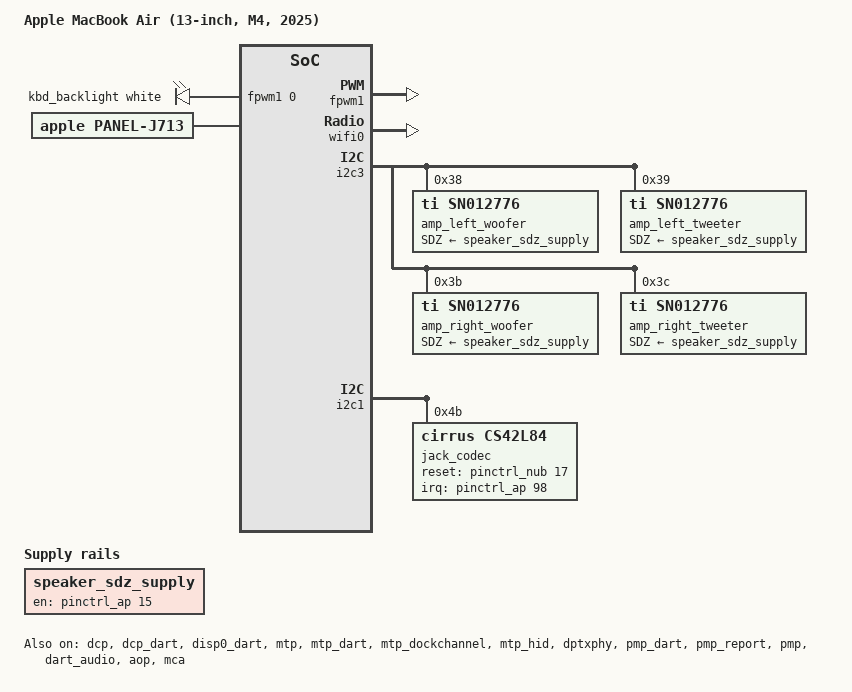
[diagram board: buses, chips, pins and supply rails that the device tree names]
// SPDX-License-Identifier: GPL-2.0+ OR MIT
/*
 * Apple MacBook Air (13-inch, M4, 2025)
 *
 * target-type: J713
 *
 * Copyright The Asahi Linux Contributors
 */

/dts-v1/;

#include "t8132.dtsi"
#include "t8132-jxxx.dtsi"
#include "t8132-mtp.dtsi"
#include "t8132-gpu.dtsi"
#include "t8132-aop.dtsi"
#include "t8132-isp.dtsi"
#include "t8132-j713-thermal.dtsi"
#include <dt-bindings/leds/common.h>

/ {
	compatible = "apple,j713", "apple,t8132", "apple,arm-platform";
	model = "Apple MacBook Air (13-inch, M4, 2025)";

	aliases {
		keyboard = &keyboard;
		/* m1n1 maps the iBoot-provided MTP segments through this alias. */
		mtp = &mtp;
		/*
		 * No external display support yet. m1n1 enables every DCP behind a
		 * dcpextN alias that the ADT lists, but not its DARTs or mailbox;
		 * appledrm then never finishes init and boot blocks before userspace.
		 */
		/delete-property/ dcpext0;
		/delete-property/ dcpext1;
	};

	sound {
		compatible = "apple,j713-macaudio", "apple,macaudio";
		model = "MacBook Air J713";

		dai-link@0 {
			link-name = "Speakers";
			/*
			 * The MCA receives sense data from both ports at once, and
			 * a port's line keeps its last level after its amps' slots.
			 * As in the ADT amp-tx-zd-config, the first amp on each
			 * port drives zeros in the other port's slots.
			 */
			dai-tdm-idle-mode-0 = "zero";
			dai-tdm-idle-mode-2 = "zero";
			dai-tdm-slot-tx-idle-mask-0 = <0xfff0f0f0>;
			dai-tdm-slot-tx-idle-mask-2 = <0xff0f0f0f>;

			cpu {
				sound-dai = <&mca 0>, <&mca 1>;
			};
			codec {
				sound-dai = <&amp_left_woofer>, <&amp_left_tweeter>,
					    <&amp_right_woofer>, <&amp_right_tweeter>;
			};
		};

		dai-link@1 {
			link-name = "Headphone Jack";

			cpu {
				sound-dai = <&mca 2>;
			};
			codec {
				sound-dai = <&jack_codec>;
			};
		};
	};

	led-controller {
		compatible = "pwm-leds";
		led-0 {
			pwms = <&fpwm1 0 40000>;
			label = "kbd_backlight";
			function = LED_FUNCTION_KBD_BACKLIGHT;
			color = <LED_COLOR_ID_WHITE>;
			max-brightness = <255>;
			default-state = "keep";
		};
	};
};

&dcp {
	status = "okay";

	panel: panel {
		compatible = "apple,panel-j713", "apple,panel";
		/*
		 * Unverified on J713: dimensions and brightness are taken from
		 * the M2 MacBook Air 13" (J413), which uses a 13.6" panel of the
		 * same size.
		 */
		width-mm = <290>;
		height-mm = <189>;
		adj-height-mm = <181>;
		apple,max-brightness = <525>;
	};
};

&dcp_dart {
	status = "okay";
};

&dcp_mbox {
	status = "okay";
};

&disp0_dart {
	status = "okay";
};

/*
 * The firmware-owned display CPU domain is locked on T8132; referencing it
 * holds simpledrm back until the deferred-probe timeout. Use the managed
 * display FE domain, as J773g does.
 */
&framebuffer0 {
	power-domains = <&ps_disp_fe>, <&ps_dptx_phy>;
	panel = <&panel>;
	post-init-providers = <&panel>;
};

&fpwm1 {
	status = "okay";
};

&mtp {
	status = "okay";
};

&mtp_mbox {
	status = "okay";
};

&mtp_dart {
	status = "okay";
};

&mtp_dockchannel {
	status = "okay";
};

&mtp_hid {
	status = "okay";
	wakeup-source;

	multi-touch {
		firmware-name = "apple/tpmtfw-j713.bin";
	};

	keyboard: keyboard {
		hid-country-code = <0>;
		apple,keyboard-layout-id = <0>;
	};

	stm {
	};

	actuator {
	};

	tp-accel {
	};

	mtp {
	};
};

/*
 * J713 has two USB-C ports (ATC0, ATC1). ATC2/ATC3 don't exist: the ADT lists
 * their power states without PS registers, so turning them on only fails.
 */
&dwc3_2 {
	status = "disabled";
};

&dwc3_2_dart_0 {
	status = "disabled";
};

&dwc3_2_dart_1 {
	status = "disabled";
};

&atcphy2 {
	status = "disabled";
};

&dwc3_3 {
	status = "disabled";
};

&dwc3_3_dart_0 {
	status = "disabled";
};

&dwc3_3_dart_1 {
	status = "disabled";
};

&atcphy3 {
	status = "disabled";
};

&pmp_report_atc2 {
	status = "disabled";
};

&pmp_report_atc3_common {
	status = "disabled";
};

&ps_atc2_common {
	status = "disabled";
};

&ps_atc2_pcie {
	status = "disabled";
};

&ps_atc2_cio {
	status = "disabled";
};

&ps_atc2_cio_pcie {
	status = "disabled";
};

&ps_atc2_cio_usb {
	status = "disabled";
};

&ps_atc2_usb_aon {
	status = "disabled";
};

&ps_atc2_usb {
	status = "disabled";
};

&ps_atc3_common {
	status = "disabled";
};

&ps_atc3_pcie {
	status = "disabled";
};

&ps_atc3_cio {
	status = "disabled";
};

&ps_atc3_cio_pcie {
	status = "disabled";
};

&ps_atc3_cio_usb {
	status = "disabled";
};

&ps_atc3_usb_aon {
	status = "disabled";
};

&ps_atc3_usb {
	status = "disabled";
};

/*
 * The J713 radio module is "garden" (ADT /arm-io/wlan module-instance).
 * m1n1 adds the antenna SKU, MAC address and calibration from the ADT.
 */
&wifi0 {
	brcm,board-type = "apple,garden";
};

&bluetooth0 {
	brcm,board-type = "apple,garden";
};

/*
 * The internal eDP panel is driven through the DPTX PHY. DCP needs it
 * powered: without it the panel stays dark (backlight only), DPTX reports
 * FIFO errors, and DCP crashes on power-off touching the PHY registers.
 */
&dptxphy {
	status = "okay";
};

&dcp {
	phys = <&dptxphy>;
	phy-names = "dp-phy";
	apple,dptx-phy = <4>;
};

#include "hwmon-common.dtsi"
#include "hwmon-laptop.dtsi"

/*
 * J713 SoC sensors, identified on the Air by behavior: under an all-core CPU
 * load Tp0f is among the hottest of the Tp keys (49 -> 106 C), and the PP0b/VP0b/IP0b rail follows
 * the load (1.5 -> 10 W, 0.61 -> 0.97 V, 2.4 -> 10.3 A; V * I matches P).
 * PMVR from hwmon-common doesn't exist on this SMC and is skipped.
 */
&smc_hwmon {
	temperature-Tp0f {
		apple,key-id = "Tp0f";
		label = "CPU Temperature";
	};
	power-PP0b {
		apple,key-id = "PP0b";
		label = "CPU Rail Power";
	};
	voltage-VP0b {
		apple,key-id = "VP0b";
		label = "CPU Rail Voltage";
	};
	current-IP0b {
		apple,key-id = "IP0b";
		label = "CPU Rail Current";
	};
};

/*
 * Research (t8132-pmp-votes): run PMP with steady votes for everything the
 * system uses; the GPU vote follows its genpd (t8132-gpu.dtsi).
 */
&pmp_report_boot_f {
	apple,always-on;
};

&pmp_report_boot_10 {
	apple,always-on;
};

&pmp_report_atc0_common {
	apple,always-on;
};

&pmp_report_atc1 {
	apple,always-on;
};

&pmp_report_boot_18 {
	apple,always-on;
};

&pmp_report_disp {
	apple,always-on;
};

&pmp_report_soc_ni0 {
	apple,always-on;
};

&pmp_report_soc_ni1 {
	apple,always-on;
};

&pmp_report_soc_ni3 {
	apple,always-on;
};

&pmp_report_soc_ni4 {
	apple,always-on;
};

&pmp_report_soc_ni5 {
	apple,always-on;
};

&pmp_report_ans {
	apple,always-on;
};

&pmp_report_pcie {
	apple,always-on;
};

&pmp_dart {
	status = "okay";
};

&pmp_report {
	status = "okay";
};

&pmp_mbox {
	status = "okay";
};

&pmp {
	status = "okay";
};

&dart_audio {
	status = "okay";
};

&admac {
	status = "okay";
};

/* Built-in microphones: three PDM mics behind AOP (ADT audio-hp-mic, 48 kHz). */
&aop_mbox {
	status = "okay";
};

&aop_admac {
	status = "okay";
};

&aop {
	status = "okay";
};

&aop_audio {
	apple,chassis-name = "J713";
	apple,machine-kind = "MacBook Air";
};

&mca {
	status = "okay";
	/* Speakers and their sense on cluster 0, the jack on cluster 2 */
	dmas = <&admac 0>, <&admac 1>, <&admac 4>;
	dma-names = "tx0a", "rx0b", "tx2a";
};

/*
 * Speakers: four SN012776 amplifiers on i2c3 (ADT audio-speaker*) with one
 * shared SDZ line (AP GPIO 15). The sound card's codec order gives the ADT
 * rx_slot TX slots (0x38 0, 0x3b 1, 0x39 2, 0x3c 3); V/I sense slots are the
 * ADT speaker-config ones. The left pair is on MCA port 0 and the right pair on
 * port 1, both fed from cluster 0. Output stays at the macaudio safe limit
 * until speakersafetyd runs.
 */
/ {
	speaker_sdz_supply: regulator-speaker-sdz {
		compatible = "regulator-fixed";
		regulator-name = "speaker-sdz";
		gpio = <&pinctrl_ap 15 GPIO_ACTIVE_HIGH>;
		enable-active-high;
		startup-delay-us = <2000>;
	};
};

&i2c3 {
	status = "okay";

	amp_left_woofer: amplifier@38 {
		compatible = "ti,sn012776", "ti,tas2764";
		reg = <0x38>;
		#sound-dai-cells = <0>;
		sound-name-prefix = "Left Woofer";
		SDZ-supply = <&speaker_sdz_supply>;
		ti,vmon-slot-no = <0>;
		ti,imon-slot-no = <2>;
	};

	amp_left_tweeter: amplifier@39 {
		compatible = "ti,sn012776", "ti,tas2764";
		reg = <0x39>;
		#sound-dai-cells = <0>;
		sound-name-prefix = "Left Tweeter";
		SDZ-supply = <&speaker_sdz_supply>;
		ti,vmon-slot-no = <8>;
		ti,imon-slot-no = <10>;
	};

	amp_right_woofer: amplifier@3b {
		compatible = "ti,sn012776", "ti,tas2764";
		reg = <0x3b>;
		#sound-dai-cells = <0>;
		sound-name-prefix = "Right Woofer";
		SDZ-supply = <&speaker_sdz_supply>;
		ti,vmon-slot-no = <4>;
		ti,imon-slot-no = <6>;
	};

	amp_right_tweeter: amplifier@3c {
		compatible = "ti,sn012776", "ti,tas2764";
		reg = <0x3c>;
		#sound-dai-cells = <0>;
		sound-name-prefix = "Right Tweeter";
		SDZ-supply = <&speaker_sdz_supply>;
		ti,vmon-slot-no = <12>;
		ti,imon-slot-no = <14>;
	};
};

&i2c1 {
	status = "okay";

	jack_codec: codec@4b {
		compatible = "cirrus,cs42l84";
		reg = <0x4b>;
		#sound-dai-cells = <0>;
		reset-gpios = <&pinctrl_nub 17 GPIO_ACTIVE_HIGH>;
		interrupts-extended = <&pinctrl_ap 98 IRQ_TYPE_LEVEL_LOW>;
		sound-name-prefix = "Jack";
	};
};

#include "t8132-usb4.dtsi"

#include "isp-common.dtsi"

&isp {
	/*
	 * ADT isp "sensor-type" is 23. Asahi uses sensor-type as the boot
	 * argument platform-id; unconfirmed for J713.
	 */
	apple,platform-id = <23>;

	sensor-presets {
		/*
		 * Assumes the M4 Max's 12 MP Center Stage sensor (0x958): config 0
		 * reads 3072 x 3024 and a centred 16:9 crop gives 1280x720, as in
		 * t6041-isp.dtsi. Check against the CONFIG_GET dump at probe.
		 */
		preset0 {
			apple,config-index = <0>;
			apple,input-size = <3072 3024>;
			apple,output-size = <1280 720>;
			apple,crop = <0 648 3072 1728>;
		};
	};
};

/*
 * Release DT: the camera stays off. Disable the ISP, its DARTs and every
 * ISP power domain, including the always-on ISP_SYS and PMP ISP report, so
 * nothing camera-related is powered or touched at boot. The ISP domains
 * are only used by the ISP and its DARTs.
 */
&isp {
	status = "disabled";
};

&isp_dart0 {
	status = "disabled";
};

&isp_dart1 {
	status = "disabled";
};

&isp_dart2 {
	status = "disabled";
};

&pmp_report_isp {
	status = "disabled";
};

&ps_isp_sys {
	status = "disabled";
};

&ps_ispsens0 {
	status = "disabled";
};

&ps_ispsens1 {
	status = "disabled";
};

&ps_isp_cpu {
	status = "disabled";
};

&ps_isp_cpu_core0 {
	status = "disabled";
};

&ps_isp_cpu_core1 {
	status = "disabled";
};

&ps_isp_fe {
	status = "disabled";
};

&ps_isp_dprx {
	status = "disabled";
};

&ps_isp_secure {
	status = "disabled";
};

&ps_isp_sts0 {
	status = "disabled";
};

&ps_isp_sts1 {
	status = "disabled";
};

&ps_isp_pearl {
	status = "disabled";
};

&ps_isp_be {
	status = "disabled";
};

&ps_isp_clr {
	status = "disabled";
};

&ps_isp_cvd {
	status = "disabled";
};

&ps_isp_cvm {
	status = "disabled";
};
